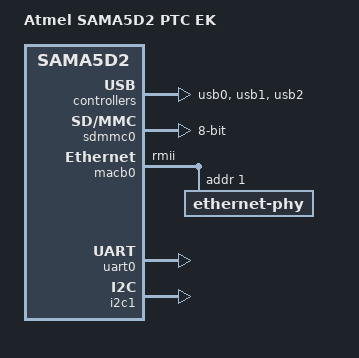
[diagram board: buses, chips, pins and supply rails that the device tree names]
/dts-v1/;
#include <dt-bindings/gpio/gpio.h>
#include "sama5d2.dtsi"
#include "sama5d2-pinfunc.h"

/ {
	model = "Atmel SAMA5D2 PTC EK";
	compatible = "atmel,sama5d2-ptc_ek", "atmel,sama5d2", "atmel,sama5";

	chosen {
		u-boot,dm-pre-reloc;
		stdout-path = &uart0;
	};

	ahb {
		usb0: gadget@00300000 {
			atmel,vbus-gpio = <&pioA PIN_PA27 GPIO_ACTIVE_HIGH>;
			pinctrl-names = "default";
			pinctrl-0 = <&pinctrl_usba_vbus>;
			status = "okay";
		};

		usb1: ohci@00400000 {
			num-ports = <3>;
			atmel,vbus-gpio = <0
					   &pioA PIN_PB12 GPIO_ACTIVE_HIGH
					   0
					  >;
			pinctrl-names = "default";
			pinctrl-0 = <&pinctrl_usb_default>;
			status = "okay";
		};

		usb2: ehci@00500000 {
			status = "okay";
		};

		sdmmc0: sdio-host@a0000000 {
			bus-width = <8>;
			pinctrl-names = "default";
			pinctrl-0 = <&pinctrl_sdmmc0_cmd_dat_default &pinctrl_sdmmc0_ck_cd_default>;
			status = "okay";
			u-boot,dm-pre-reloc;
		};

		sdmmc1: sdio-host@b0000000 {
			bus-width = <4>;
			pinctrl-names = "default";
			pinctrl-0 = <&pinctrl_sdmmc1_cmd_dat_default &pinctrl_sdmmc1_ck_cd_default>;
			status = "disabled"; /* conflicts with nand and qspi0*/
			u-boot,dm-pre-reloc;
		};

		apb {
			macb0: ethernet@f8008000 {
				pinctrl-names = "default";
				pinctrl-0 = <&pinctrl_macb0_rmii &pinctrl_macb0_phy_irq>;
				phy-mode = "rmii";
				status = "okay";

				ethernet-phy@1 {
					reg = <0x1>;
				};
			};

			uart0: serial@f801c000 {
				pinctrl-names = "default";
				pinctrl-0 = <&pinctrl_uart0_default>;
				status = "okay";
				u-boot,dm-pre-reloc;
			};

			i2c1: i2c@fc028000 {
				pinctrl-names = "default";
				pinctrl-0 = <&pinctrl_i2c1_default>;
				status = "okay";
			};

			pioA: gpio@fc038000 {
				pinctrl {
					pinctrl_i2c1_default: i2c1_default {
						pinmux = <PIN_PC6__TWD1>,
							 <PIN_PC7__TWCK1>;
						bias-disable;
					};

					pinctrl_macb0_phy_irq: macb0_phy_irq {
						pinmux = <PIN_PB24__GPIO>;
						bias-disable;
					};

					pinctrl_macb0_rmii: macb0_rmii {
						pinmux = <PIN_PB14__GTXCK>,
							 <PIN_PB15__GTXEN>,
							 <PIN_PB16__GRXDV>,
							 <PIN_PB17__GRXER>,
							 <PIN_PB18__GRX0>,
							 <PIN_PB19__GRX1>,
							 <PIN_PB20__GTX0>,
							 <PIN_PB21__GTX1>,
							 <PIN_PB22__GMDC>,
							 <PIN_PB23__GMDIO>;
						bias-disable;
					};

					pinctrl_sdmmc0_cmd_dat_default: sdmmc0_cmd_dat_default {
						pinmux = <PIN_PA1__SDMMC0_CMD>,
							 <PIN_PA2__SDMMC0_DAT0>,
							 <PIN_PA3__SDMMC0_DAT1>,
							 <PIN_PA4__SDMMC0_DAT2>,
							 <PIN_PA5__SDMMC0_DAT3>,
							 <PIN_PA6__SDMMC0_DAT4>,
							 <PIN_PA7__SDMMC0_DAT5>,
							 <PIN_PA8__SDMMC0_DAT6>,
							 <PIN_PA9__SDMMC0_DAT7>;
						bias-pull-up;
						u-boot,dm-pre-reloc;
					};

					pinctrl_sdmmc0_ck_cd_default: sdmmc0_ck_cd_default {
						pinmux = <PIN_PA0__SDMMC0_CK>,
							 <PIN_PA10__SDMMC0_RSTN>,
							 <PIN_PA11__SDMMC0_VDDSEL>,
							 <PIN_PA13__SDMMC0_CD>;
						bias-disable;
						u-boot,dm-pre-reloc;
					};

					pinctrl_sdmmc1_cmd_dat_default: sdmmc1_cmd_dat_default {
						pinmux = <PIN_PA28__SDMMC1_CMD>,
							 <PIN_PA18__SDMMC1_DAT0>,
							 <PIN_PA19__SDMMC1_DAT1>,
							 <PIN_PA20__SDMMC1_DAT2>,
							 <PIN_PA21__SDMMC1_DAT3>;
						bias-pull-up;
						u-boot,dm-pre-reloc;
					};

					pinctrl_sdmmc1_ck_cd_default: sdmmc1_ck_cd_default {
						pinmux = <PIN_PA22__SDMMC1_CK>,
							 <PIN_PA30__SDMMC1_CD>;
						bias-disable;
						u-boot,dm-pre-reloc;
					};

					pinctrl_uart0_default: uart0_default {
						pinmux = <PIN_PB26__URXD0>,
							 <PIN_PB27__UTXD0>;
						bias-disable;
						u-boot,dm-pre-reloc;
					};

					pinctrl_usb_default: usb_default {
						pinmux = <PIN_PB12__GPIO>;
						bias-disable;
					};

					pinctrl_usba_vbus: usba_vbus {
						pinmux = <PIN_PB11__GPIO>;
						bias-disable;
					};
				};
			};
		};
	};
};
